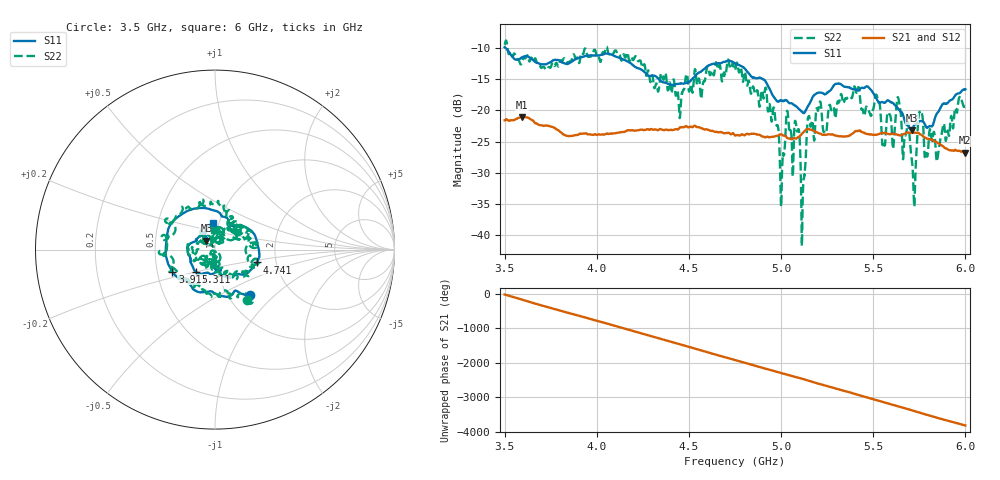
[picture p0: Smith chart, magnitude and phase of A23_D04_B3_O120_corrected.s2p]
! Created with skrf 1.9.0 (http://scikit-rf.org).
# Hz S RI R 50.0
!freq ReS11 ImS11 ReS21 ImS21 ReS12 ImS12 ReS22 ImS22
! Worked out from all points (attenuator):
!   1601 points, 3.5 GHz to 6 GHz, reference 50 ohm
!   highest |S21| = -21.05 dB at 3.592 GHz (marker M1); lowest = -26.8 dB at 5.997 GHz (marker M2)
!   lowest |S11| = -23.2 dB at 5.708 GHz (marker M3), VSWR 1.15, Z = 45.2 + j4.58 ohm
!   |S11| at or under -10 dB: 3.505 GHz to end of sweep
!   |S22| runs from -41.7 to -8.8 dB; largest |S21 - S12| = 0.001
!   S11 on the Smith chart (normalised r, x): 3.5 GHz: 1.26, -0.71; 3.917 GHz: 0.60, -0.16; 4.741 GHz: 1.58, -0.24; 5.311 GHz: 0.79, -0.20; 6 GHz: 0.94, +0.28
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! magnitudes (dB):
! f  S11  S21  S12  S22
! 3.5 GHz  -9.9  -21.6  -21.6  -9.5
! 3.592 GHz  -11.5  -21.0  -21.1  -12.5
! 3.917 GHz  -11.5  -23.7  -23.7  -10.8
! 4.334 GHz  -14.9  -23.1  -23.1  -16.9
! 4.741 GHz  -12.3  -23.7  -23.7  -12.6
! 4.75 GHz  -12.5  -24.0  -23.9  -13.6
! 4.911 GHz  -15.2  -24.3  -24.2  -17.1
! 5.005 GHz  -18.4  -23.9  -23.9  -30.3
! 5.034 GHz  -18.5  -24.4  -24.3  -20.1
! 5.086 GHz  -19.4  -24.4  -24.4  -23.3
! 5.119 GHz  -20.4  -23.6  -23.5  -32.7
! 5.145 GHz  -19.4  -23.0  -22.9  -21.3
! 5.167 GHz  -18.1  -23.1  -23.1  -21.7
! 5.311 GHz  -15.7  -24.1  -24.1  -18.7
! 5.584 GHz  -18.4  -23.8  -23.7  -20.4
! 5.638 GHz  -19.8  -23.9  -23.9  -18.2
! 5.708 GHz  -23.2  -23.6  -23.5  -27.6
! 5.725 GHz  -22.3  -23.5  -23.5  -34.1
! 5.755 GHz  -21.7  -23.8  -23.7  -20.5
! 5.85 GHz  -20.3  -25.2  -25.1  -27.4
! 5.997 GHz  -16.6  -26.8  -26.7  -19.4
! 6 GHz  -16.6  -26.8  -26.7  -19.4
